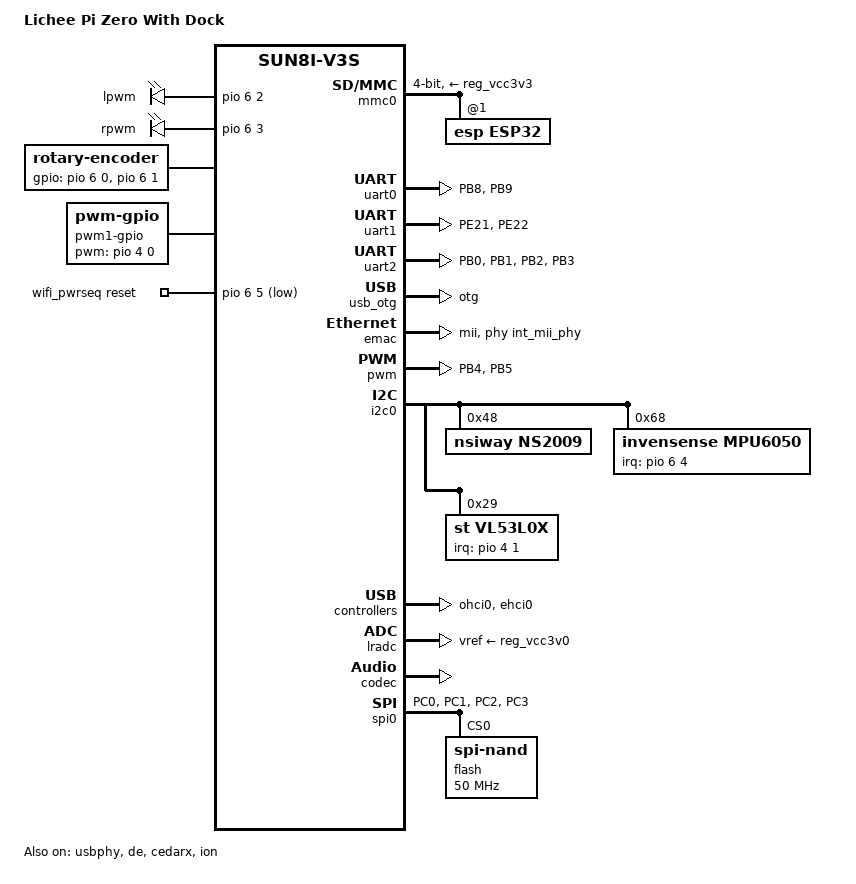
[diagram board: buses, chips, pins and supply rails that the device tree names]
/*
 * Copyright (C) 2016 Icenowy Zheng <icenowy@aosc.xyz>
 *
 * This file is dual-licensed: you can use it either under the terms
 * of the GPL or the X11 license, at your option. Note that this dual
 * licensing only applies to this file, and not this project as a
 * whole.
 *
 *  a) This file is free software; you can redistribute it and/or
 *     modify it under the terms of the GNU General Public License as
 *     published by the Free Software Foundation; either version 2 of the
 *     License, or (at your option) any later version.
 *
 *     This file is distributed in the hope that it will be useful,
 *     but WITHOUT ANY WARRANTY; without even the implied warranty of
 *     MERCHANTABILITY or FITNESS FOR A PARTICULAR PURPOSE.  See the
 *     GNU General Public License for more details.
 *
 * Or, alternatively,
 *
 *  b) Permission is hereby granted, free of charge, to any person
 *     obtaining a copy of this software and associated documentation
 *     files (the "Software"), to deal in the Software without
 *     restriction, including without limitation the rights to use,
 *     copy, modify, merge, publish, distribute, sublicense, and/or
 *     sell copies of the Software, and to permit persons to whom the
 *     Software is furnished to do so, subject to the following
 *     conditions:
 *
 *     The above copyright notice and this permission notice shall be
 *     included in all copies or substantial portions of the Software.
 *
 *     THE SOFTWARE IS PROVIDED "AS IS", WITHOUT WARRANTY OF ANY KIND,
 *     EXPRESS OR IMPLIED, INCLUDING BUT NOT LIMITED TO THE WARRANTIES
 *     OF MERCHANTABILITY, FITNESS FOR A PARTICULAR PURPOSE AND
 *     NONINFRINGEMENT. IN NO EVENT SHALL THE AUTHORS OR COPYRIGHT
 *     HOLDERS BE LIABLE FOR ANY CLAIM, DAMAGES OR OTHER LIABILITY,
 *     WHETHER IN AN ACTION OF CONTRACT, TORT OR OTHERWISE, ARISING
 *     FROM, OUT OF OR IN CONNECTION WITH THE SOFTWARE OR THE USE OR
 *     OTHER DEALINGS IN THE SOFTWARE.
 */

/dts-v1/;
#include "sun8i-v3s.dtsi"
#include "sunxi-common-regulators.dtsi"
#include <dt-bindings/input/input.h>
#include <dt-bindings/pwm/pwm.h>

/ {
    model = "Lichee Pi Zero With Dock";
    compatible = "licheepi,licheepi-zero-spinand", "licheepi,licheepi-zero", "allwinner,sun8i-v3s";

    aliases {
        serial0 = &uart0;
        ethernet0 = &emac;
        display0 = &panel;
        spi0 = &spi0;
    };

    chosen {
        stdout-path = "serial0:115200n8";
    };

    leds {
        /* The LEDs use PG0~2 pins, which conflict with MMC1 */
        compatible = "gpio-leds";
        status = "okay";

		lpwm {
			label = "lpwm";
			gpios = <&pio 6 2 GPIO_ACTIVE_HIGH>; // PG2
			default-state = "on";
		};

		rpwm {
			label = "rpwm";
			gpios = <&pio 6 3 GPIO_ACTIVE_HIGH>; // PG3
			default-state = "on";
		};

    };

    srf04@0 {
		compatible = "devantech,srf04";
		trig-gpios = <&pio 1 3 GPIO_ACTIVE_HIGH>; // PB3
		echo-gpios = <&pio 1 2 GPIO_ACTIVE_HIGH>; // PB2
        status = "disabled";
	};

    rotary: rotary-encoder {
		compatible = "rotary-encoder";
		gpios = <&pio 6 0 GPIO_ACTIVE_HIGH>, <&pio 6 1 GPIO_ACTIVE_HIGH>; //PG0 PG1
		linux,axis = <0>; /* REL_X */
		rotary-encoder,encoding = "gray";
		rotary-encoder,relative-axis;
	};

    pwm1-gpio {
		compatible = "pwm-gpio";
		#pwm-cells = <3>;
		pwm-gpio = <&pio 4 0 GPIO_ACTIVE_HIGH>; // PE0
	};

    backlight: backlight {
        compatible = "pwm-backlight";
        enable-gpios = <&pio 1 4 GPIO_ACTIVE_HIGH>; /* PB4 PWM0 */
		pwms = <&pwm 0 1000000 PWM_POLARITY_INVERTED>;
		brightness-levels = <0 30 40 50 60 70 100>;
		default-brightness-level = <6>;
        status = "disabled";
    };

    wifi_pwrseq: wifi_pwrseq {
		compatible = "mmc-pwrseq-simple";
		reset-gpios = <&pio 6 5 GPIO_ACTIVE_LOW>; // PG5
		post-power-on-delay-ms = <200>;
	};

    panel: panel {
        compatible = "simple-panel","ampire,am-480272h3tmqw-t01h";
        #address-cells = <1>;
        #size-cells = <0>;
        status = "disabled";

        label = "lcd";
        pinctrl-names = "default";
        
        // power-supply = <&reg_vcc3v3>;
        // enable-gpios = <&axp_gpio 0 GPIO_ACTIVE_HIGH>; /* AXP GPIO0 */
        backlight = <&backlight>;

        port@0 {
            panel_input: endpoint {
                remote-endpoint = <&tcon0_out_lcd>;
            };
        };
    };
};

&mmc0 {
    broken-cd;
    bus-width = <4>;
    vmmc-supply = <&reg_vcc3v3>;
    status = "okay";
    mmc-pwrseq = <&wifi_pwrseq>;

    esp32: sdio_wifi@1 {
		compatible = "esp,esp32";
		reg = <1>;
		esp,crystal-26M-en = <2>;
	};
};

&mmc1 {
    broken-cd;
    bus-width = <4>;
    vmmc-supply = <&reg_vcc3v3>;
    status = "disabled";
};


&uart0 {
    pinctrl-0 = <&uart0_pins_a>;
    pinctrl-names = "default";
    status = "okay";
};

&uart1 {
    pinctrl-0 = <&uart1_pins_a>;
    pinctrl-names = "default";
    status = "okay";
};

&uart2 {
    pinctrl-0 = <&uart2_pins_a>;
    pinctrl-names = "default";
    status = "okay";
};

&usb_otg {
    dr_mode = "otg";
    status = "okay";
};

&usbphy {
    usb0_id_det-gpios = <&pio 5 6 GPIO_ACTIVE_HIGH>; /* USB_ID PF6 */
    status = "okay";
};

&emac {
    phy-handle = <&int_mii_phy>;
    phy-mode = "mii";
    allwinner,leds-active-low;
	local-mac-address = [a4 51 29 00 00 08];
    status = "okay";
};

&pwm {
    pinctrl-names = "default";
    pinctrl-0 = <&pwm0_pins_a &pwm1_pins_a>;
    status = "okay";
};

&de {
    status = "okay";
};

&i2c0 {
	status = "okay";

	ns2009: ns2009@48 {
		compatible = "nsiway,ns2009";
		reg = <0x48>;
	};

    mpu6050@68 {
		compatible = "invensense,mpu6050";
		reg = <0x68>;
		status = "okay";
		interrupt-parent = <&pio>;
		interrupts = <6 4 IRQ_TYPE_EDGE_RISING>; // PG4
		orientation = <0xff 0 0 0 1 0 0 0 0xff>;
	};

    vl53l0x@29 {
		compatible = "st,vl53l0x";
		reg = <0x29>;
		interrupt-parent = <&pio>;
		interrupts = <4 1 IRQ_TYPE_EDGE_FALLING>; //PE1
		status = "okay";
	};
};

&tcon0 {
    pinctrl-names = "default";
    pinctrl-0 = <&lcd_rgb666_pins>;
    status = "disabled";
};

&tcon0_out {
    tcon0_out_lcd: endpoint@0 {
        reg = <0>;
        remote-endpoint = <&panel_input>;
        status = "disabled";
    };
};

&ohci0 {
	status = "okay";
};

&ehci0 {
	status = "okay";
};

&lradc {
	vref-supply = <&reg_vcc3v0>;
	status = "okay";
};

&codec {
	allwinner,audio-routing =
		"Headphone", "HP",
		"Headphone", "HPCOM",
		"MIC1", "Mic",
		"Mic",  "HBIAS";
	status = "okay";
};

&cedarx {
    status = "okay";
};

&ion {
    status = "okay";
};

&pio {
    spi0_pins_a: spi0-pins {
        pins = "PC0", "PC1", "PC2", "PC3";
        function = "spi0";
    };

    uart0_pins_a: uart0-pins {
        pins = "PB8", "PB9";
        function = "uart0";
    };

    uart1_pins_a: uart1-pins {
        pins = "PE21", "PE22";
        function = "uart1";
    };

    uart2_pins_a: uart2-pins {
        pins = "PB0", "PB1", "PB2", "PB3";
        function = "uart2";
    };

    pwm0_pins_a: pwm0-pins {
        pins = "PB4";
        function = "pwm0";
    };

    pwm1_pins_a: pwm1-pins {
        pins = "PB5";
        function = "pwm1";
    };
};

&spi0 {
    pinctrl-names = "default";
    pinctrl-0 = <&spi0_pins_a>;
    status = "okay";

	flash: spinand@0 {
		#address-cells = <1>;
		#size-cells = <1>;
		compatible = "spi-nand";
		reg = <0>;
		spi-max-frequency = <50000000>;

		boot@0 {
			label = "boot";
			reg = <0x0000000 0x0100000>;
		};

		ubi0@100000 {
			label = "ubi0";
			reg = <0x0100000 0x0000000>;
		};

	};
};
